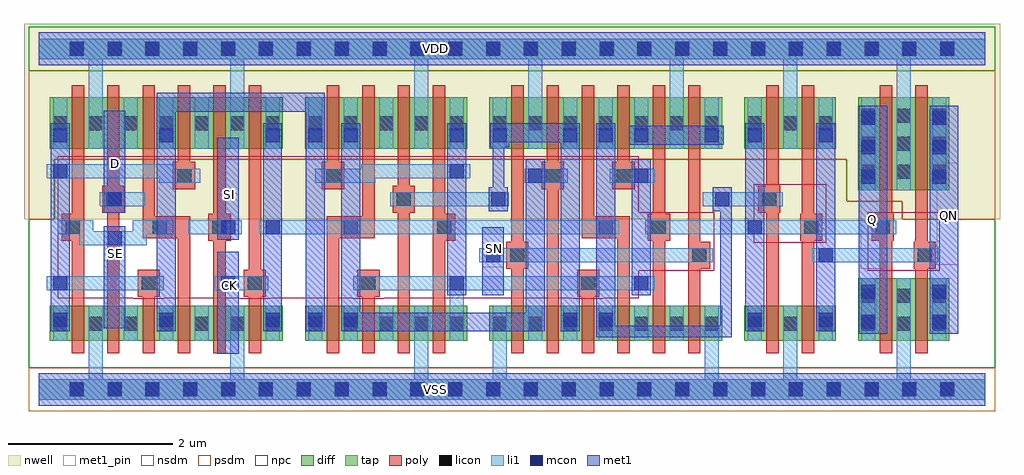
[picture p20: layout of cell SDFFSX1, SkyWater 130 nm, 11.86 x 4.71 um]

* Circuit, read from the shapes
.subckt SDFFSX1 CK D Q QN SE SI SN VDD VSS
XM1 VSS SE n1 VSS sky130_fd_pr__nfet_01v8 w=0.425 l=0.15
XM2 n2 D VSS VSS sky130_fd_pr__nfet_01v8 w=0.425 l=0.15
XM3 n3 n1 n2 VSS sky130_fd_pr__nfet_01v8 w=0.425 l=0.15
XM4 n4 SE n3 VSS sky130_fd_pr__nfet_01v8 w=0.425 l=0.15
XM5 VSS SI n4 VSS sky130_fd_pr__nfet_01v8 w=0.425 l=0.15
XM6 n5 CK VSS VSS sky130_fd_pr__nfet_01v8 w=0.425 l=0.15
XM7 n6 n5 n3 VSS sky130_fd_pr__nfet_01v8 w=0.425 l=0.15
XM8 n7 n8 n6 VSS sky130_fd_pr__nfet_01v8 w=0.425 l=0.15
XM9 VSS n9 n7 VSS sky130_fd_pr__nfet_01v8 w=0.425 l=0.15
XM10 n8 n5 VSS VSS sky130_fd_pr__nfet_01v8 w=0.425 l=0.15
XM11 n10 SN VSS VSS sky130_fd_pr__nfet_01v8 w=0.425 l=0.15
XM12 n9 n6 n10 VSS sky130_fd_pr__nfet_01v8 w=0.425 l=0.15
XM13 n11 n8 n9 VSS sky130_fd_pr__nfet_01v8 w=0.425 l=0.15
XM14 n12 n5 n11 VSS sky130_fd_pr__nfet_01v8 w=0.425 l=0.15
XM15 n13 n14 n12 VSS sky130_fd_pr__nfet_01v8 w=0.425 l=0.15
XM16 VSS SN n13 VSS sky130_fd_pr__nfet_01v8 w=0.425 l=0.15
XM17 VSS n11 n14 VSS sky130_fd_pr__nfet_01v8 w=0.425 l=0.15
XM18 n15 n14 VSS VSS sky130_fd_pr__nfet_01v8 w=0.425 l=0.15
XM19 VSS n14 Q VSS sky130_fd_pr__nfet_01v8 w=0.76 l=0.15
XM20 QN n15 VSS VSS sky130_fd_pr__nfet_01v8 w=0.76 l=0.15
XM21 VDD SE n1 VDD sky130_fd_pr__pfet_01v8 w=0.625 l=0.15
XM22 n16 D VDD VDD sky130_fd_pr__pfet_01v8 w=0.625 l=0.15
XM23 n3 SE n16 VDD sky130_fd_pr__pfet_01v8 w=0.625 l=0.15
XM24 n17 n1 n3 VDD sky130_fd_pr__pfet_01v8 w=0.625 l=0.15
XM25 VDD SI n17 VDD sky130_fd_pr__pfet_01v8 w=0.625 l=0.15
XM26 n5 CK VDD VDD sky130_fd_pr__pfet_01v8 w=0.625 l=0.15
XM27 n6 n8 n3 VDD sky130_fd_pr__pfet_01v8 w=0.625 l=0.15
XM28 n18 n5 n6 VDD sky130_fd_pr__pfet_01v8 w=0.625 l=0.15
XM29 VDD n9 n18 VDD sky130_fd_pr__pfet_01v8 w=0.625 l=0.15
XM30 n8 n5 VDD VDD sky130_fd_pr__pfet_01v8 w=0.625 l=0.15
XM31 VDD SN n9 VDD sky130_fd_pr__pfet_01v8 w=0.625 l=0.15
XM32 n9 n6 VDD VDD sky130_fd_pr__pfet_01v8 w=0.625 l=0.15
XM33 n11 n5 n9 VDD sky130_fd_pr__pfet_01v8 w=0.625 l=0.15
XM34 n19 n8 n11 VDD sky130_fd_pr__pfet_01v8 w=0.625 l=0.15
XM35 VDD n14 n19 VDD sky130_fd_pr__pfet_01v8 w=0.625 l=0.15
XM36 n19 SN VDD VDD sky130_fd_pr__pfet_01v8 w=0.625 l=0.15
XM37 VDD n11 n14 VDD sky130_fd_pr__pfet_01v8 w=0.625 l=0.15
XM38 n15 n14 VDD VDD sky130_fd_pr__pfet_01v8 w=0.625 l=0.15
XM39 VDD n14 Q VDD sky130_fd_pr__pfet_01v8 w=1.13 l=0.15
XM40 QN n15 VDD VDD sky130_fd_pr__pfet_01v8 w=1.13 l=0.15
.ends

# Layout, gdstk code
from math import pi, radians
import gdstk
lib = gdstk.Library(unit=1e-6, precision=1e-09)
def R(c, l, rs):  # rectangles x0, y0, x1, y1
    for r in rs: c.add(gdstk.rectangle(r[:2], r[2:], *l))
def A(c, l, x, y, w, h, nx, ny, dx, dy):  # array of equal rectangles
    R(c, l, [(x+i*dx, y+j*dy, x+i*dx+w, y+j*dy+h) for i in range(nx) for j in range(ny)])
def P(c, l, *ps):  # polygons
    for p in ps: c.add(gdstk.Polygon(p, *l))
nwell = (64, 20)
diff = (65, 20)
tap = (65, 44)
poly = (66, 20)
licon = (66, 44)
li1 = (67, 20)
mcon = (67, 44)
met1_pin = (68, 16)
met1 = (68, 20)
nsdm = (93, 44)
psdm = (94, 20)
npc = (95, 20)

pyl1con_c_cdns_751554744 = lib.new_cell('PYL1CON_C_CDNS_751554744751')
R(pyl1con_c_cdns_751554744, poly, [(-0.135,-0.165,0.135,0.165)])
R(pyl1con_c_cdns_751554744, licon, [(-0.085,-0.085,0.085,0.085)])
R(pyl1con_c_cdns_751554744, npc, [(-0.185,-0.185,0.185,0.185)])

licondiff_c_cdns_7515547 = lib.new_cell('LICONDIFF_C_CDNS_751554744755')
R(licondiff_c_cdns_7515547, diff, [(-0.125,-0.145,0.125,0.145)])
R(licondiff_c_cdns_7515547, licon, [(-0.085,-0.085,0.085,0.085), (-0.085,-0.085,0.085,0.085)])

c_pyl1con_c_cdns_751554744 = lib.new_cell('PYL1CON_C_CDNS_751554744754')
R(c_pyl1con_c_cdns_751554744, poly, [(-0.135,-0.29,0.135,0.29)])
R(c_pyl1con_c_cdns_751554744, licon, [(-0.085,-0.085,0.085,0.085)])
R(c_pyl1con_c_cdns_751554744, npc, [(-0.185,-0.185,0.185,0.185)])

c_pyl1con_c_cdns_751554744_ = lib.new_cell('PYL1CON_C_CDNS_7515547447521')
R(c_pyl1con_c_cdns_751554744_, poly, [(-0.135,-0.37,0.135,0.21)])
R(c_pyl1con_c_cdns_751554744_, licon, [(-0.085,-0.085,0.085,0.085)])
R(c_pyl1con_c_cdns_751554744_, npc, [(-0.185,-0.185,0.185,0.185)])

l1m1_c_cdns_751554744750 = lib.new_cell('L1M1_C_CDNS_751554744750$$7')
R(l1m1_c_cdns_751554744750, li1, [(-0.085,-0.345,0.085,0.345)])
R(l1m1_c_cdns_751554744750, mcon, [(-0.085,-0.265,0.085,-0.095), (-0.085,0.095,0.085,0.265)])
R(l1m1_c_cdns_751554744750, met1, [(-0.115,-0.325,0.115,0.325)])

c_l1m1_c_cdns_751554744750 = lib.new_cell('L1M1_C_CDNS_751554744750$$8')
R(c_l1m1_c_cdns_751554744750, li1, [(-0.085,-0.165,0.085,0.165)])
R(c_l1m1_c_cdns_751554744750, mcon, [(-0.085,-0.085,0.085,0.085)])
R(c_l1m1_c_cdns_751554744750, met1, [(-0.115,-0.145,0.115,0.145)])

c_l1m1_c_cdns_751554744750_ = lib.new_cell('L1M1_C_CDNS_751554744750$$9')
R(c_l1m1_c_cdns_751554744750_, li1, [(-0.165,-0.085,0.165,0.085)])
R(c_l1m1_c_cdns_751554744750_, mcon, [(-0.085,-0.085,0.085,0.085)])
R(c_l1m1_c_cdns_751554744750_, met1, [(-0.115,-0.145,0.115,0.145)])

c_l1m1_c_cdns_751554744750__ = lib.new_cell('L1M1_C_CDNS_751554744750$$21')
R(c_l1m1_c_cdns_751554744750__, li1, [(-0.085,-0.165,0.085,0.165)])
R(c_l1m1_c_cdns_751554744750__, mcon, [(-0.085,-0.085,0.085,0.085)])
R(c_l1m1_c_cdns_751554744750__, met1, [(-0.145,-0.085,0.145,0.085)])

c_l1m1_c_cdns_751554744750___ = lib.new_cell('L1M1_C_CDNS_751554744750$$19')
R(c_l1m1_c_cdns_751554744750___, li1, [(-0.085,-0.085,0.085,0.085)])
R(c_l1m1_c_cdns_751554744750___, mcon, [(-0.085,-0.085,0.085,0.085)])
R(c_l1m1_c_cdns_751554744750___, met1, [(-0.115,-0.145,0.115,0.145)])

c_l1m1_c_cdns_751554744750____ = lib.new_cell('L1M1_C_CDNS_751554744750$$11')
R(c_l1m1_c_cdns_751554744750____, li1, [(-0.085,-0.525,0.085,0.525)])
A(c_l1m1_c_cdns_751554744750____, mcon, -0.085, -0.445, 0.17, 0.17, 1, 3, 0, 0.36)
R(c_l1m1_c_cdns_751554744750____, met1, [(-0.115,-0.505,0.115,0.505)])

c_l1m1_c_cdns_751554744750_____ = lib.new_cell('L1M1_C_CDNS_751554744750$$20')
R(c_l1m1_c_cdns_751554744750_____, li1, [(-0.125,-0.085,0.125,0.085)])
R(c_l1m1_c_cdns_751554744750_____, mcon, [(-0.085,-0.085,0.085,0.085)])
R(c_l1m1_c_cdns_751554744750_____, met1, [(-0.115,-0.145,0.115,0.145)])

sdffsx1 = lib.new_cell('SDFFSX1')
R(sdffsx1, nwell, [(-0.18,2.07,11.68,4.445)])
R(sdffsx1, diff, [(0.135,0.59,2.965,1.015), (3.235,0.59,5.205,1.015), (5.475,0.59,8.305,1.015), (8.575,0.59,9.685,1.015), (9.955,0.59,11.065,1.35), (9.955,2.42,11.065,3.55), (0.135,2.925,2.965,3.55), (3.235,2.925,5.205,3.55), (5.475,2.925,8.305,3.55), (8.575,2.925,9.685,3.55)])
A(sdffsx1, poly, 1.26, 0.44, 0.15, 0.725, 3, 1, 2.67, 0)
R(sdffsx1, poly, [(0.4,0.44,0.55,3.7), (0.83,0.44,0.98,3.7), (2.12,0.44,2.27,3.7), (2.55,0.44,2.7,3.7), (4.36,0.44,4.51,3.7), (4.79,0.44,4.94,3.7), (5.74,0.44,5.89,3.7), (6.17,0.44,6.32,3.7), (7.46,0.44,7.61,3.7), (7.89,0.44,8.04,3.7), (8.84,0.44,8.99,3.7), (9.27,0.44,9.42,3.7), (10.22,0.44,10.37,3.7), (10.65,0.44,10.8,3.7), (1.69,2.725,1.84,3.7), (7.03,2.725,7.18,3.7), (3.5,2.745,3.65,3.7)])
P(sdffsx1, poly, [(7.18,2.045),(6.75,2.045),(6.75,3.7),(6.6,3.7),(6.6,1.895),(7.03,1.895),(7.03,0.44),(7.18,0.44)],
  [(4.08,3.7),(3.93,3.7),(3.93,2.045),(3.5,2.045),(3.5,0.44),(3.65,0.44),(3.65,1.895),(4.08,1.895)],
  [(1.84,2.045),(1.41,2.045),(1.41,3.7),(1.26,3.7),(1.26,1.895),(1.69,1.895),(1.69,0.44),(1.84,0.44)])
A(sdffsx1, licon, 0.375, -0.085, 0.17, 0.17, 24, 2, 0.46, 4.14)
A(sdffsx1, licon, 0.605, 0.715, 0.17, 0.17, 3, 2, 0.86, 2.435)
A(sdffsx1, licon, 8.615, 0.715, 0.17, 0.17, 3, 2, 0.43, 2.435)
A(sdffsx1, licon, 9.995, 0.715, 0.17, 0.17, 3, 2, 0.43, 0.34)
A(sdffsx1, licon, 9.995, 2.56, 0.17, 0.17, 3, 3, 0.43, 0.34)
A(sdffsx1, licon, 5.515, 3.15, 0.17, 0.17, 7, 1, 0.43, 0)
R(sdffsx1, licon, [(0.175,0.715,0.345,0.885), (2.755,0.715,2.925,0.885), (3.275,0.715,3.445,0.885), (3.705,0.715,3.875,0.885), (4.565,0.715,4.735,0.885), (4.995,0.715,5.165,0.885), (5.515,0.715,5.685,0.885), (6.375,0.715,6.545,0.885), (6.805,0.715,6.975,0.885), (8.095,0.715,8.265,0.885), (0.175,3.15,0.345,3.32), (2.755,3.15,2.925,3.32), (3.275,3.15,3.445,3.32), (3.705,3.15,3.875,3.32), (4.565,3.15,4.735,3.32), (4.995,3.15,5.165,3.32)])
A(sdffsx1, li1, 0.175, 0.59, 0.17, 0.425, 3, 1, 1.29, 0)
A(sdffsx1, li1, 0.175, 2.925, 0.17, 0.625, 3, 1, 1.29, 0)
A(sdffsx1, li1, 6.375, 2.925, 0.17, 0.625, 3, 1, 0.43, 0)
R(sdffsx1, li1, [(3.275,0.59,3.445,1.015), (3.705,0.59,3.875,1.015), (6.375,0.59,6.545,1.015), (6.805,0.59,6.975,1.015), (8.615,0.59,8.785,1.015), (9.475,0.59,9.645,1.015), (9.995,0.59,10.165,1.35), (10.855,0.59,11.025,1.35), (9.995,2.42,10.165,3.55), (10.855,2.42,11.025,3.55), (3.275,2.925,3.445,3.55), (3.705,2.925,3.875,3.55), (4.995,2.925,5.165,3.55), (5.515,2.925,5.685,3.55), (8.095,2.925,8.265,3.55), (8.615,2.925,8.785,3.55), (9.475,2.925,9.645,3.55)])
P(sdffsx1, li1, [(11.5,0.125),(10.595,0.125),(10.595,1.35),(10.425,1.35),(10.425,0.125),(9.215,0.125),(9.215,1.015),(9.045,1.015),(9.045,0.125),(8.265,0.125),(8.265,1.015),(8.095,1.015),(8.095,0.125),(5.685,0.125),(5.685,1.015),(5.515,1.015),(5.515,0.125),(4.735,0.125),(4.735,1.015),(4.565,1.015),(4.565,0.125),(2.495,0.125),(2.495,1.015),(2.325,1.015),(2.325,0.125),(0.775,0.125),(0.775,1.015),(0.605,1.015),(0.605,0.125),(0,0.125),(0,-0.125),(11.5,-0.125)],
  [(11.5,4.265),(0,4.265),(0,4.015),(0.605,4.015),(0.605,2.925),(0.775,2.925),(0.775,4.015),(2.325,4.015),(2.325,2.925),(2.495,2.925),(2.495,4.015),(4.565,4.015),(4.565,2.925),(4.735,2.925),(4.735,4.015),(5.945,4.015),(5.945,2.925),(6.115,2.925),(6.115,4.015),(7.665,4.015),(7.665,2.925),(7.835,2.925),(7.835,4.015),(9.045,4.015),(9.045,2.925),(9.215,2.925),(9.215,4.015),(10.425,4.015),(10.425,2.42),(10.595,2.42),(10.595,4.015),(11.5,4.015)],
  [(7.485,1.375),(3.82,1.375),(3.82,1.205),(4.995,1.205),(4.995,0.59),(5.165,0.59),(5.165,1.205),(7.485,1.205)],
  [(5.245,2.735),(3.92,2.735),(3.92,2.685),(3.36,2.685),(3.36,2.515),(4.09,2.515),(4.09,2.565),(5.245,2.565)],
  [(1.96,2.685),(1.635,2.685),(1.635,2.735),(0.095,2.735),(0.095,2.565),(1.465,2.565),(1.465,2.515),(1.96,2.515)],
  [(1.635,2.055),(1.14,2.055),(1.14,1.925),(0.66,1.925),(0.66,2.055),(0.23,2.055),(0.23,1.885),(0.49,1.885),(0.49,1.755),(1.31,1.755),(1.31,1.885),(1.635,1.885)])
A(sdffsx1, mcon, 0.375, -0.085, 0.17, 0.17, 24, 2, 0.46, 4.14)
R(sdffsx1, met1_pin, [(2.17,0.435,2.43,1.675), (0.79,0.745,1.05,1.985), (9.99,1.465,10.25,2.705), (5.39,1.485,5.65,1.97), (10.91,1.515,11.17,2.755), (2.17,1.82,2.43,3.06), (0.79,2.15,1.05,3.39)])
R(sdffsx1, met1, [(10.825,0.675,11.17,3.45), (9.965,0.68,10.31,3.45)])
P(sdffsx1, met1, [(8.42,2.31),(8.28,2.31),(8.28,0.775),(7.005,0.775),(7.005,3.235),(6.775,3.235),(6.775,0.635),(8.42,0.635)],
  [(6.575,3.235),(5.485,3.235),(5.485,3.005),(5.515,3.005),(5.515,2.31),(5.655,2.31),(5.655,3.005),(6.345,3.005),(6.345,0.705),(6.575,0.705)])
R(sdffsx1, nsdm, [(-0.125,3.875,11.625,4.405)])
P(sdffsx1, nsdm, [(11.625,2.07),(10.495,2.07),(10.495,2.29),(9.815,2.29),(9.815,2.795),(0.19,2.795),(0.19,2.07),(-0.125,2.07),(-0.125,0.265),(11.625,0.265)])
R(sdffsx1, psdm, [(-0.125,-0.265,11.625,0.265)])
P(sdffsx1, psdm, [(11.625,3.875),(-0.125,3.875),(-0.125,2.07),(0.19,2.07),(0.19,2.795),(9.815,2.795),(9.815,2.29),(10.495,2.29),(10.495,2.07),(11.625,2.07)])
R(sdffsx1, npc, [(10.07,1.445,10.95,2.155), (8.69,1.785,9.57,2.495)])
P(sdffsx1, npc, [(8.21,2.155),(7.29,2.155),(7.29,2.835),(0.23,2.835),(0.23,1.11),(7.29,1.11),(7.29,1.445),(8.21,1.445)])
sdffsx1.add(gdstk.FlexPath([(5.63,2.31),(4.27,2.31)], 0.17, ends="flush", simple_path=True, layer=67, datatype=20))  # li1
sdffsx1.add(gdstk.FlexPath([(1.285,2.31),(0.74,2.31)], 0.17, ends="flush", simple_path=True, layer=67, datatype=20))  # li1
sdffsx1.add(gdstk.FlexPath([(1.98,0.59),(1.98,1.015)], 0.17, ends="flush", simple_path=True, layer=67, datatype=20))  # li1
sdffsx1.add(gdstk.FlexPath([(1.12,0.59),(1.12,1.015)], 0.17, ends="flush", simple_path=True, layer=67, datatype=20))  # li1
sdffsx1.add(gdstk.FlexPath([(5.595,1.63),(8.19,1.63)], 0.17, ends="flush", simple_path=True, layer=67, datatype=20))  # li1
sdffsx1.add(gdstk.FlexPath([(1.98,2.925),(1.98,3.55)], 0.17, ends="flush", simple_path=True, layer=67, datatype=20))  # li1
sdffsx1.add(gdstk.FlexPath([(1.12,2.925),(1.12,3.55)], 0.17, ends="flush", simple_path=True, layer=67, datatype=20))  # li1
sdffsx1.add(gdstk.FlexPath([(8.07,2.31),(9.04,2.31)], 0.17, ends="flush", simple_path=True, layer=67, datatype=20))  # li1
sdffsx1.add(gdstk.FlexPath([(9.395,1.63),(10.93,1.63)], 0.17, ends="flush", simple_path=True, layer=67, datatype=20))  # li1
sdffsx1.add(gdstk.FlexPath([(6.03,0.59),(6.03,1.015)], 0.17, ends="flush", simple_path=True, layer=67, datatype=20))  # li1
sdffsx1.add(gdstk.FlexPath([(7.37,1.97),(10.42,1.97)], 0.17, ends="flush", simple_path=True, layer=67, datatype=20))  # li1
sdffsx1.add(gdstk.FlexPath([(2.675,1.97),(7.055,1.97)], 0.17, ends="flush", simple_path=True, layer=67, datatype=20))  # li1
sdffsx1.add(gdstk.FlexPath([(2.79,1.29),(2.245,1.29)], 0.17, ends="flush", simple_path=True, layer=67, datatype=20))  # li1
sdffsx1.add(gdstk.FlexPath([(2.36,1.97),(1.815,1.97)], 0.17, ends="flush", simple_path=True, layer=67, datatype=20))  # li1
sdffsx1.add(gdstk.FlexPath([(7.32,0.59),(7.32,1.015)], 0.17, ends="flush", simple_path=True, layer=67, datatype=20))  # li1
sdffsx1.add(gdstk.FlexPath([(7.75,0.59),(7.75,1.015)], 0.17, ends="flush", simple_path=True, layer=67, datatype=20))  # li1
sdffsx1.add(gdstk.FlexPath([(4.22,0.59),(4.22,1.015)], 0.17, ends="flush", simple_path=True, layer=67, datatype=20))  # li1
sdffsx1.add(gdstk.FlexPath([(4.22,2.925),(4.22,3.55)], 0.17, ends="flush", simple_path=True, layer=67, datatype=20))  # li1
sdffsx1.add(gdstk.FlexPath([(0.095,1.29),(1.52,1.29)], 0.17, ends="flush", simple_path=True, layer=67, datatype=20))  # li1
sdffsx1.add(gdstk.FlexPath([(6.94,2.6),(7.485,2.6)], 0.17, ends="flush", simple_path=True, layer=67, datatype=20))  # li1
sdffsx1.add(gdstk.FlexPath([(5.905,2.6),(6.43,2.6)], 0.17, ends="flush", simple_path=True, layer=67, datatype=20))  # li1
sdffsx1.add(gdstk.FlexPath([(0,0),(11.5,0)], 0.4, ends="flush", simple_path=True, layer=68, datatype=20))  # met1
sdffsx1.add(gdstk.FlexPath([(0,4.14),(11.5,4.14)], 0.4, ends="flush", simple_path=True, layer=68, datatype=20))  # met1
sdffsx1.add(gdstk.FlexPath([(0.92,0.745),(0.92,1.985)], 0.26, ends="flush", simple_path=True, layer=68, datatype=20))  # met1
sdffsx1.add(gdstk.FlexPath([(7.175,3.09),(8.325,3.09)], 0.23, ends="flush", simple_path=True, layer=68, datatype=20))  # met1
sdffsx1.add(gdstk.FlexPath([(9.56,0.705),(9.56,3.235)], 0.23, ends="flush", simple_path=True, layer=68, datatype=20))  # met1
sdffsx1.add(gdstk.FlexPath([(8.7,0.705),(8.7,3.235)], 0.23, ends="flush", simple_path=True, layer=68, datatype=20))  # met1
sdffsx1.add(gdstk.FlexPath([(0.92,2.15),(0.92,3.39)], 0.26, ends="flush", simple_path=True, layer=68, datatype=20))  # met1
sdffsx1.add(gdstk.FlexPath([(2.3,1.82),(2.3,3.06)], 0.26, ends="flush", simple_path=True, layer=68, datatype=20))  # met1
sdffsx1.add(gdstk.FlexPath([(2.3,0.435),(2.3,1.675)], 0.26, ends="flush", simple_path=True, layer=68, datatype=20))  # met1
sdffsx1.add(gdstk.FlexPath([(6.03,2.795),(6.03,0.82),(3.79,0.82),(3.79,3.235)], 0.23, ends="flush", simple_path=True, layer=68, datatype=20))  # met1
sdffsx1.add(gdstk.FlexPath([(5.52,1.145),(5.52,1.97)], 0.26, ends="flush", simple_path=True, layer=68, datatype=20))  # met1
sdffsx1.add(gdstk.FlexPath([(2.84,0.705),(2.84,3.235)], 0.23, ends="flush", simple_path=True, layer=68, datatype=20))  # met1
sdffsx1.add(gdstk.FlexPath([(5.08,1.145),(5.08,3.235)], 0.23, ends="flush", simple_path=True, layer=68, datatype=20))  # met1
sdffsx1.add(gdstk.FlexPath([(0.26,0.705),(0.26,3.235)], 0.23, ends="flush", simple_path=True, layer=68, datatype=20))  # met1
sdffsx1.add(gdstk.FlexPath([(1.55,0.705),(1.55,3.49),(3.36,3.49),(3.36,0.705)], 0.23, ends="flush", simple_path=True, layer=68, datatype=20))  # met1
sdffsx1.add(gdstk.FlexPath([(7.32,1.145),(7.32,2.795)], 0.23, ends="flush", simple_path=True, layer=68, datatype=20))  # met1
sdffsx1.add(gdstk.FlexPath([(0,0),(11.5,0)], 0.4, ends="flush", simple_path=True, layer=68, datatype=16))  # met1_pin
sdffsx1.add(gdstk.FlexPath([(0,4.14),(11.5,4.14)], 0.4, ends="flush", simple_path=True, layer=68, datatype=16))  # met1_pin
sdffsx1.add(gdstk.FlexPath([(0,0),(11.5,0)], 0.25, ends="flush", simple_path=True, layer=65, datatype=44))  # tap
sdffsx1.add(gdstk.FlexPath([(0,4.14),(11.5,4.14)], 0.25, ends="flush", simple_path=True, layer=65, datatype=44))  # tap
sdffsx1.add(gdstk.Reference(pyl1con_c_cdns_751554744, (10.255,1.97), rotation=pi, x_reflection=True))
sdffsx1.add(gdstk.Reference(pyl1con_c_cdns_751554744, (8.875,2.31), rotation=pi, x_reflection=True))
sdffsx1.add(gdstk.Reference(pyl1con_c_cdns_751554744, (9.385,1.97), x_reflection=True))
sdffsx1.add(gdstk.Reference(pyl1con_c_cdns_751554744, (0.905,2.31)))
sdffsx1.add(gdstk.Reference(pyl1con_c_cdns_751554744, (0.415,1.97)))
sdffsx1.add(gdstk.Reference(pyl1con_c_cdns_751554744, (10.765,1.63), rotation=pi, x_reflection=True))
sdffsx1.add(gdstk.Reference(pyl1con_c_cdns_751554744, (7.535,1.97)))
sdffsx1.add(gdstk.Reference(pyl1con_c_cdns_751554744, (8.025,1.63)))
sdffsx1.add(gdstk.Reference(pyl1con_c_cdns_751554744, (6.675,1.29), x_reflection=True))
sdffsx1.add(gdstk.Reference(pyl1con_c_cdns_751554744, (7.105,2.6), rotation=pi))
sdffsx1.add(gdstk.Reference(pyl1con_c_cdns_751554744, (3.575,2.6), x_reflection=True))
sdffsx1.add(gdstk.Reference(pyl1con_c_cdns_751554744, (4.005,1.29), rotation=pi))
sdffsx1.add(gdstk.Reference(pyl1con_c_cdns_751554744, (1.335,1.29), x_reflection=True))
sdffsx1.add(gdstk.Reference(pyl1con_c_cdns_751554744, (1.765,2.6), rotation=pi))
sdffsx1.add(gdstk.Reference(pyl1con_c_cdns_751554744, (2.195,1.97), x_reflection=True))
sdffsx1.add(gdstk.Reference(pyl1con_c_cdns_751554744, (2.625,1.29), x_reflection=True))
sdffsx1.add(gdstk.Reference(pyl1con_c_cdns_751554744, (4.925,1.97), rotation=pi))
sdffsx1.add(gdstk.Reference(pyl1con_c_cdns_751554744, (5.815,1.63)))
sdffsx1.add(gdstk.Reference(pyl1con_c_cdns_751554744, (4.435,2.31)))
sdffsx1.add(gdstk.Reference(pyl1con_c_cdns_751554744, (6.245,2.6), rotation=pi))
sdffsx1.add(gdstk.Reference(licondiff_c_cdns_7515547, (1.12,3.235)))
sdffsx1.add(gdstk.Reference(licondiff_c_cdns_7515547, (1.98,3.235)))
sdffsx1.add(gdstk.Reference(licondiff_c_cdns_7515547, (1.12,0.8)))
sdffsx1.add(gdstk.Reference(licondiff_c_cdns_7515547, (1.98,0.8)))
sdffsx1.add(gdstk.Reference(licondiff_c_cdns_7515547, (6.03,0.8), rotation=pi, x_reflection=True))
sdffsx1.add(gdstk.Reference(licondiff_c_cdns_7515547, (7.32,0.8)))
sdffsx1.add(gdstk.Reference(licondiff_c_cdns_7515547, (7.75,0.8)))
sdffsx1.add(gdstk.Reference(licondiff_c_cdns_7515547, (4.22,0.8)))
sdffsx1.add(gdstk.Reference(licondiff_c_cdns_7515547, (4.22,3.235)))
sdffsx1.add(gdstk.Reference(c_pyl1con_c_cdns_751554744, (6.89,1.97), rotation=pi/2))
sdffsx1.add(gdstk.Reference(c_pyl1con_c_cdns_751554744, (3.79,1.97), rotation=pi/2, x_reflection=True))
sdffsx1.add(gdstk.Reference(c_pyl1con_c_cdns_751554744_, (1.47,1.97), rotation=pi/2))
sdffsx1.add(gdstk.Reference(l1m1_c_cdns_751554744750, (10.94,1.005)))
sdffsx1.add(gdstk.Reference(l1m1_c_cdns_751554744750, (10.08,1.005)))
sdffsx1.add(gdstk.Reference(l1m1_c_cdns_751554744750, (10.94,1.005)))
sdffsx1.add(gdstk.Reference(l1m1_c_cdns_751554744750, (10.08,1.005)))
sdffsx1.add(gdstk.Reference(c_l1m1_c_cdns_751554744750, (8.7,0.85), rotation=pi, x_reflection=True))
sdffsx1.add(gdstk.Reference(c_l1m1_c_cdns_751554744750, (9.56,0.85), rotation=pi, x_reflection=True))
sdffsx1.add(gdstk.Reference(c_l1m1_c_cdns_751554744750, (9.56,3.09), rotation=pi, x_reflection=True))
sdffsx1.add(gdstk.Reference(c_l1m1_c_cdns_751554744750, (8.7,3.09), rotation=pi, x_reflection=True))
sdffsx1.add(gdstk.Reference(c_l1m1_c_cdns_751554744750, (6.89,0.85)))
sdffsx1.add(gdstk.Reference(c_l1m1_c_cdns_751554744750, (6.89,3.09)))
sdffsx1.add(gdstk.Reference(c_l1m1_c_cdns_751554744750, (6.46,3.09)))
sdffsx1.add(gdstk.Reference(c_l1m1_c_cdns_751554744750, (6.46,0.85)))
sdffsx1.add(gdstk.Reference(c_l1m1_c_cdns_751554744750, (3.79,0.85)))
sdffsx1.add(gdstk.Reference(c_l1m1_c_cdns_751554744750, (3.79,3.09)))
sdffsx1.add(gdstk.Reference(c_l1m1_c_cdns_751554744750, (2.84,3.09)))
sdffsx1.add(gdstk.Reference(c_l1m1_c_cdns_751554744750, (2.84,0.85)))
sdffsx1.add(gdstk.Reference(c_l1m1_c_cdns_751554744750, (5.08,3.09), rotation=pi, x_reflection=True))
sdffsx1.add(gdstk.Reference(c_l1m1_c_cdns_751554744750, (5.6,3.09)))
sdffsx1.add(gdstk.Reference(c_l1m1_c_cdns_751554744750, (0.26,0.85)))
sdffsx1.add(gdstk.Reference(c_l1m1_c_cdns_751554744750, (0.26,3.09)))
sdffsx1.add(gdstk.Reference(c_l1m1_c_cdns_751554744750, (1.55,0.85)))
sdffsx1.add(gdstk.Reference(c_l1m1_c_cdns_751554744750, (1.55,3.09)))
sdffsx1.add(gdstk.Reference(c_l1m1_c_cdns_751554744750, (3.36,0.85)))
sdffsx1.add(gdstk.Reference(c_l1m1_c_cdns_751554744750, (3.36,3.09)))
sdffsx1.add(gdstk.Reference(c_l1m1_c_cdns_751554744750_, (0.26,2.65)))
sdffsx1.add(gdstk.Reference(c_l1m1_c_cdns_751554744750_, (0.26,1.29)))
sdffsx1.add(gdstk.Reference(c_l1m1_c_cdns_751554744750_, (0.92,2.31), x_reflection=True))
sdffsx1.add(gdstk.Reference(c_l1m1_c_cdns_751554744750_, (0.92,1.84), x_reflection=True))
sdffsx1.add(gdstk.Reference(c_l1m1_c_cdns_751554744750_, (5.52,1.63), x_reflection=True))
sdffsx1.add(gdstk.Reference(c_l1m1_c_cdns_751554744750_, (9.56,1.63)))
sdffsx1.add(gdstk.Reference(c_l1m1_c_cdns_751554744750_, (8.7,1.97), rotation=pi, x_reflection=True))
sdffsx1.add(gdstk.Reference(c_l1m1_c_cdns_751554744750_, (5.08,1.29), rotation=pi, x_reflection=True))
sdffsx1.add(gdstk.Reference(c_l1m1_c_cdns_751554744750_, (5.08,2.65), rotation=pi, x_reflection=True))
sdffsx1.add(gdstk.Reference(c_l1m1_c_cdns_751554744750_, (2.84,1.97)))
sdffsx1.add(gdstk.Reference(c_l1m1_c_cdns_751554744750_, (2.3,1.97), x_reflection=True))
sdffsx1.add(gdstk.Reference(c_l1m1_c_cdns_751554744750_, (2.3,1.29), x_reflection=True))
sdffsx1.add(gdstk.Reference(c_l1m1_c_cdns_751554744750_, (7.32,1.29)))
sdffsx1.add(gdstk.Reference(c_l1m1_c_cdns_751554744750_, (7.32,2.6)))
sdffsx1.add(gdstk.Reference(c_l1m1_c_cdns_751554744750__, (8.18,3.09)))
sdffsx1.add(gdstk.Reference(c_l1m1_c_cdns_751554744750__, (7.32,3.09)))
sdffsx1.add(gdstk.Reference(c_l1m1_c_cdns_751554744750___, (8.305,2.31)))
sdffsx1.add(gdstk.Reference(c_l1m1_c_cdns_751554744750____, (10.94,2.945)))
sdffsx1.add(gdstk.Reference(c_l1m1_c_cdns_751554744750____, (10.94,2.945)))
sdffsx1.add(gdstk.Reference(c_l1m1_c_cdns_751554744750____, (10.08,2.945)))
sdffsx1.add(gdstk.Reference(c_l1m1_c_cdns_751554744750____, (10.08,2.945)))
sdffsx1.add(gdstk.Reference(c_l1m1_c_cdns_751554744750_____, (5.585,2.31), rotation=pi, x_reflection=True))
sdffsx1.add(gdstk.Reference(c_l1m1_c_cdns_751554744750_____, (6.03,2.6)))
sdffsx1.add(gdstk.Label('SE', (0.935,1.65), layer=68, texttype=5))
sdffsx1.add(gdstk.Label('CK', (2.315,1.265), layer=68, texttype=5))
sdffsx1.add(gdstk.Label('VSS', (4.825,0.005), layer=68, texttype=5))
sdffsx1.add(gdstk.Label('Q', (10.135,2.06), layer=68, texttype=5))
sdffsx1.add(gdstk.Label('VDD', (4.825,4.145), layer=68, texttype=5))
sdffsx1.add(gdstk.Label('QN', (11.055,2.11), layer=68, texttype=5))
sdffsx1.add(gdstk.Label('SN', (5.535,1.71), layer=68, texttype=5))
sdffsx1.add(gdstk.Label('D', (0.935,2.745), layer=68, texttype=5))
sdffsx1.add(gdstk.Label('SI', (2.315,2.375), layer=68, texttype=5))

lib.write_gds('SDFFSX1.gds')
